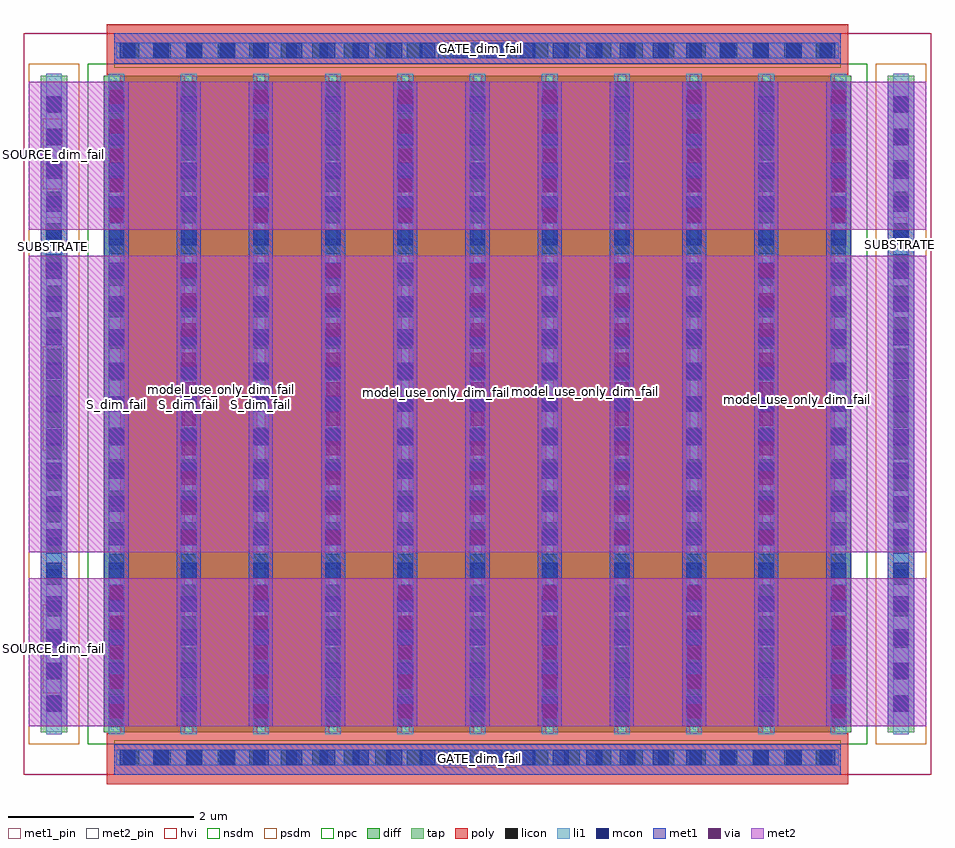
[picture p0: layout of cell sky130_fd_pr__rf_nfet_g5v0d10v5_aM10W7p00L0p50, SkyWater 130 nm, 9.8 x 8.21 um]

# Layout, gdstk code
import gdstk
lib = gdstk.Library(unit=1e-6, precision=1e-09)
def R(c, l, rs):  # rectangles x0, y0, x1, y1
    for r in rs: c.add(gdstk.rectangle(r[:2], r[2:], *l))
def A(c, l, x, y, w, h, nx, ny, dx, dy):  # array of equal rectangles
    R(c, l, [(x+i*dx, y+j*dy, x+i*dx+w, y+j*dy+h) for i in range(nx) for j in range(ny)])
def P(c, l, *ps):  # polygons
    for p in ps: c.add(gdstk.Polygon(p, *l))
diff = (65, 20)
tap = (65, 44)
poly = (66, 20)
licon = (66, 44)
li1 = (67, 20)
mcon = (67, 44)
met1_pin = (68, 16)
met1 = (68, 20)
via = (68, 44)
met2_pin = (69, 16)
met2 = (69, 20)
hvi = (75, 20)
nsdm = (93, 44)
psdm = (94, 20)
npc = (95, 20)

sky130_fd_pr__rf_nfet_g5 = lib.new_cell('sky130_fd_pr__rf_nfet_g5v0d10v5_aM10W7p00L0p50')
R(sky130_fd_pr__rf_nfet_g5, diff, [(0.86,0.46,8.94,7.55)])
R(sky130_fd_pr__rf_nfet_g5, tap, [(0.18,0.46,0.47,7.55), (9.33,0.46,9.62,7.55)])
P(sky130_fd_pr__rf_nfet_g5, poly, [(0.895,-0.1),(0.895,0.45),(1.04,0.45),(1.04,7.56),(1.74,7.56),(1.74,0.45),(1.82,0.45),(1.82,7.56),(2.52,7.56),(2.52,0.45),(2.6,0.45),(2.6,7.56),(3.3,7.56),(3.3,0.45),(3.38,0.45),(3.38,7.56),(4.08,7.56),(4.08,0.45),(4.16,0.45),(4.16,7.56),(4.86,7.56),(4.86,0.45),(4.94,0.45),(4.94,7.56),(5.64,7.56),(5.64,0.45),(5.72,0.45),(5.72,7.56),(6.42,7.56),(6.42,0.45),(6.5,0.45),(6.5,7.56),(7.2,7.56),(7.2,0.45),(7.28,0.45),(7.28,7.56),(7.98,7.56),(7.98,0.45),(8.06,0.45),(8.06,7.56),(0.895,7.56),(0.895,8.11),(8.905,8.11),(8.905,7.56),(8.76,7.56),(8.76,0.45),(8.905,0.45),(8.905,-0.1)])
A(sky130_fd_pr__rf_nfet_g5, licon, 1.075, 0.1, 0.17, 0.17, 23, 2, 0.34, 7.64)
A(sky130_fd_pr__rf_nfet_g5, licon, 0.915, 0.52, 0.17, 0.17, 11, 21, 0.78, 0.34)
A(sky130_fd_pr__rf_nfet_g5, licon, 0.24, 0.69, 0.17, 0.17, 1, 20, 0, 0.34)
A(sky130_fd_pr__rf_nfet_g5, licon, 9.39, 0.69, 0.17, 0.17, 1, 20, 0, 0.34)
A(sky130_fd_pr__rf_nfet_g5, li1, 0.915, 0.44, 0.17, 7.13, 11, 1, 0.78, 0)
A(sky130_fd_pr__rf_nfet_g5, li1, 0.915, 2.66, 0.17, 2.69, 11, 1, 0.78, 0)
R(sky130_fd_pr__rf_nfet_g5, li1, [(0.995,0.1,8.805,0.27), (1.035,0.1,8.765,0.27), (0.24,0.44,0.41,7.57), (9.39,0.44,9.56,7.57), (0.24,0.61,0.41,7.4), (0.24,0.61,0.41,7.4), (9.39,0.61,9.56,7.4), (9.39,0.61,9.56,7.4), (0.24,2.65,0.41,5.36), (0.24,2.65,0.41,5.36), (9.39,2.65,9.56,5.36), (9.39,2.65,9.56,5.36), (0.24,2.66,0.41,5.35), (9.39,2.66,9.56,5.35), (0.995,7.74,8.805,7.91), (1.035,7.74,8.765,7.91)])
A(sky130_fd_pr__rf_nfet_g5, mcon, 1.035, 0.1, 0.17, 0.17, 22, 2, 0.36, 7.64)
A(sky130_fd_pr__rf_nfet_g5, mcon, 0.24, 0.68, 0.17, 0.17, 1, 19, 0, 0.36)
A(sky130_fd_pr__rf_nfet_g5, mcon, 0.915, 0.68, 0.17, 0.17, 11, 19, 0.78, 0.36)
A(sky130_fd_pr__rf_nfet_g5, mcon, 9.39, 0.68, 0.17, 0.17, 1, 19, 0, 0.36)
R(sky130_fd_pr__rf_nfet_g5, met1_pin, [(4.53,0.075,5.32,0.27), (0.235,5.385,0.4,6.025), (9.39,5.43,9.535,6.025), (4.545,7.74,5.32,7.935)])
A(sky130_fd_pr__rf_nfet_g5, met1, 0.87, 0.525, 0.26, 6.96, 11, 1, 0.78, 0)
A(sky130_fd_pr__rf_nfet_g5, met1, 0.87, 0.525, 0.26, 1.6, 6, 2, 1.56, 5.36)
A(sky130_fd_pr__rf_nfet_g5, met1, 1.65, 2.405, 0.26, 3.2, 5, 1, 1.56, 0)
R(sky130_fd_pr__rf_nfet_g5, met1, [(0.975,0,8.825,0.33), (0.18,0.525,0.47,7.485), (9.33,0.525,9.62,7.485), (0.975,7.68,8.825,8.01)])
A(sky130_fd_pr__rf_nfet_g5, via, 0.925, 0.61, 0.15, 0.15, 6, 5, 1.56, 0.32)
A(sky130_fd_pr__rf_nfet_g5, via, 1.705, 2.49, 0.15, 0.15, 5, 10, 1.56, 0.32)
A(sky130_fd_pr__rf_nfet_g5, via, 0.925, 5.97, 0.15, 0.15, 6, 5, 1.56, 0.32)
R(sky130_fd_pr__rf_nfet_g5, met2_pin, [(0.205,0.88,0.4,1.835), (0.205,3.505,0.43,4.625), (0.205,6.325,0.415,7.085)])
A(sky130_fd_pr__rf_nfet_g5, met2, 0.87, 0.525, 0.26, 1.6, 6, 2, 1.56, 5.36)
A(sky130_fd_pr__rf_nfet_g5, met2, 1.65, 2.405, 0.26, 3.2, 5, 1, 1.56, 0)
R(sky130_fd_pr__rf_nfet_g5, met2, [(0.05,0.525,9.75,2.125), (0.05,2.405,9.75,5.605), (0.05,5.885,9.75,7.485)])
R(sky130_fd_pr__rf_nfet_g5, hvi, [(0,0,9.8,8.01)])
R(sky130_fd_pr__rf_nfet_g5, nsdm, [(0.69,0.33,9.11,7.68)])
R(sky130_fd_pr__rf_nfet_g5, psdm, [(0.05,0.33,0.6,7.68), (9.2,0.33,9.75,7.68)])
R(sky130_fd_pr__rf_nfet_g5, npc, [(0.975,0,8.825,0.37), (0.975,7.64,8.825,8.01)])
sky130_fd_pr__rf_nfet_g5.add(gdstk.Label('model_use_only_dim_fail', (8.36,4.055), layer=66, texttype=83))
sky130_fd_pr__rf_nfet_g5.add(gdstk.Label('model_use_only_dim_fail', (7.615,4.115), layer=66, texttype=83))
sky130_fd_pr__rf_nfet_g5.add(gdstk.Label('model_use_only_dim_fail', (6.825,4.13), layer=66, texttype=83))
sky130_fd_pr__rf_nfet_g5.add(gdstk.Label('model_use_only_dim_fail', (6.065,4.145), layer=66, texttype=83))
sky130_fd_pr__rf_nfet_g5.add(gdstk.Label('model_use_only_dim_fail', (5.245,4.1), layer=66, texttype=83))
sky130_fd_pr__rf_nfet_g5.add(gdstk.Label('model_use_only_dim_fail', (4.455,4.13), layer=66, texttype=83))
sky130_fd_pr__rf_nfet_g5.add(gdstk.Label('model_use_only_dim_fail', (3.71,4.16), layer=66, texttype=83))
sky130_fd_pr__rf_nfet_g5.add(gdstk.Label('model_use_only_dim_fail', (2.905,4.085), layer=66, texttype=83))
sky130_fd_pr__rf_nfet_g5.add(gdstk.Label('model_use_only_dim_fail', (2.13,4.16), layer=66, texttype=83))
sky130_fd_pr__rf_nfet_g5.add(gdstk.Label('model_use_only_dim_fail', (1.365,4.115), layer=66, texttype=83))
sky130_fd_pr__rf_nfet_g5.add(gdstk.Label('S_dim_fail', (1,4.005), layer=83, texttype=44))
sky130_fd_pr__rf_nfet_g5.add(gdstk.Label('S_dim_fail', (1,4.005), layer=83, texttype=44))
sky130_fd_pr__rf_nfet_g5.add(gdstk.Label('S_dim_fail', (1.78,4.005), layer=83, texttype=44))
sky130_fd_pr__rf_nfet_g5.add(gdstk.Label('D_dim_fail', (1.78,4.005), layer=83, texttype=44))
sky130_fd_pr__rf_nfet_g5.add(gdstk.Label('S_dim_fail', (2.56,4.005), layer=83, texttype=44))
sky130_fd_pr__rf_nfet_g5.add(gdstk.Label('S_dim_fail', (2.56,4.005), layer=83, texttype=44))
sky130_fd_pr__rf_nfet_g5.add(gdstk.Label('S_dim_fail', (3.34,4.005), layer=83, texttype=44))
sky130_fd_pr__rf_nfet_g5.add(gdstk.Label('D_dim_fail', (3.34,4.005), layer=83, texttype=44))
sky130_fd_pr__rf_nfet_g5.add(gdstk.Label('S_dim_fail', (4.12,4.005), layer=83, texttype=44))
sky130_fd_pr__rf_nfet_g5.add(gdstk.Label('D_dim_fail', (4.12,4.005), layer=83, texttype=44))
sky130_fd_pr__rf_nfet_g5.add(gdstk.Label('S_dim_fail', (4.9,4.005), layer=83, texttype=44))
sky130_fd_pr__rf_nfet_g5.add(gdstk.Label('S_dim_fail', (4.9,4.005), layer=83, texttype=44))
sky130_fd_pr__rf_nfet_g5.add(gdstk.Label('S_dim_fail', (5.68,4.005), layer=83, texttype=44))
sky130_fd_pr__rf_nfet_g5.add(gdstk.Label('D_dim_fail', (5.68,4.005), layer=83, texttype=44))
sky130_fd_pr__rf_nfet_g5.add(gdstk.Label('D_dim_fail', (6.46,4.005), layer=83, texttype=44))
sky130_fd_pr__rf_nfet_g5.add(gdstk.Label('S_dim_fail', (6.46,4.005), layer=83, texttype=44))
sky130_fd_pr__rf_nfet_g5.add(gdstk.Label('S_dim_fail', (7.24,4.005), layer=83, texttype=44))
sky130_fd_pr__rf_nfet_g5.add(gdstk.Label('S_dim_fail', (7.24,4.005), layer=83, texttype=44))
sky130_fd_pr__rf_nfet_g5.add(gdstk.Label('D_dim_fail', (8.02,4.005), layer=83, texttype=44))
sky130_fd_pr__rf_nfet_g5.add(gdstk.Label('S_dim_fail', (8.02,4.005), layer=83, texttype=44))
sky130_fd_pr__rf_nfet_g5.add(gdstk.Label('S_dim_fail', (8.8,4.005), layer=83, texttype=44))
sky130_fd_pr__rf_nfet_g5.add(gdstk.Label('DRAIN_dim_fail', (0.32,4.065), layer=69, texttype=5))
sky130_fd_pr__rf_nfet_g5.add(gdstk.Label('SOURCE_dim_fail', (0.31,6.705), layer=69, texttype=5))
sky130_fd_pr__rf_nfet_g5.add(gdstk.Label('SOURCE_dim_fail', (0.305,1.36), layer=69, texttype=5))
sky130_fd_pr__rf_nfet_g5.add(gdstk.Label('GATE_dim_fail', (4.935,7.84), layer=68, texttype=5))
sky130_fd_pr__rf_nfet_g5.add(gdstk.Label('GATE_dim_fail', (4.925,0.175), layer=68, texttype=5))
sky130_fd_pr__rf_nfet_g5.add(gdstk.Label('SUBSTRATE', (9.465,5.73), layer=68, texttype=5))
sky130_fd_pr__rf_nfet_g5.add(gdstk.Label('SUBSTRATE', (0.32,5.705), layer=68, texttype=5))

lib.write_gds('sky130_fd_pr__rf_nfet_g5v0d10v5_aM10W7p00L0p50.gds')
